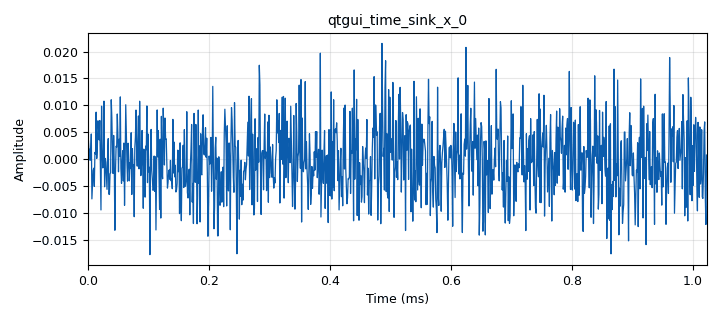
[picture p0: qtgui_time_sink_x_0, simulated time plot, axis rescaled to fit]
options:
  parameters:
    author: anunn
    generate_options: qt_gui
    id: untitled
    output_language: python
    title: Not titled yet
  states: {}

blocks:
- name: samp_rate
  id: variable
  parameters:
    value: 1e6
  states: {}
- name: analog_noise_source_x_0
  id: analog_noise_source_x
  parameters:
    amp: '1'
    noise_type: analog.GR_GAUSSIAN
    seed: '0'
    type: float
  states: {}
- name: blocks_delay_0
  id: blocks_delay
  parameters:
    delay: '100'
    type: float
  states: {}
- name: blocks_throttle2_0
  id: blocks_throttle2
  parameters:
    samples_per_second: samp_rate
    type: float
  states: {}
- name: epy_block_1
  id: epy_block
  parameters:
    _source_code: |
      import numpy as np
      from gnuradio import gr
      from scipy.signal import correlate


      class blk(gr.sync_block):

          def __init__(self, fs=1e6, capture_len=50000):
              gr.sync_block.__init__(
                  self,
                  name='live_corr_only',
                  in_sig=[np.float32, np.float32],
                  out_sig=[np.float32]
              )

              self.fs = fs
              self.capture_len = capture_len

              self.b1 = []
              self.b2 = []


          def work(self, input_items, output_items):

              ch1 = input_items[0]
              ch2 = input_items[1]

              # ---- collect samples ----
              self.b1.extend(ch1.tolist())
              self.b2.extend(ch2.tolist())

              if len(self.b1) >= self.capture_len:

                  x = np.array(self.b1)
                  y = np.array(self.b2)

                  n = len(x)

                  # ===== SAME CORE LOGIC AS YOUR SCRIPT =====
                  cross_corr = correlate(
                      x - np.mean(x),
                      y - np.mean(y),
                      mode='full'
                  ) / n
                  # ==========================================

                  # stream out part of result
                  L = len(output_items[0])
                  output_items[0][:] = cross_corr[:L]

                  self.b1 = []
                  self.b2 = []

              return len(output_items[0])
    capture_len: '500'
    fs: 1e6
  states: {}
- name: qtgui_time_sink_x_0
  id: qtgui_time_sink_x
  parameters:
    size: '1024'
    srate: samp_rate
    type: float
  states: {}

connections:
- [analog_noise_source_x_0, '0', blocks_throttle2_0, '0']
- [blocks_delay_0, '0', epy_block_1, '1']
- [blocks_throttle2_0, '0', blocks_delay_0, '0']
- [blocks_throttle2_0, '0', epy_block_1, '0']
- [epy_block_1, '0', qtgui_time_sink_x_0, '0']

metadata:
  file_format: 1
  grc_version: 3.10.12.0
